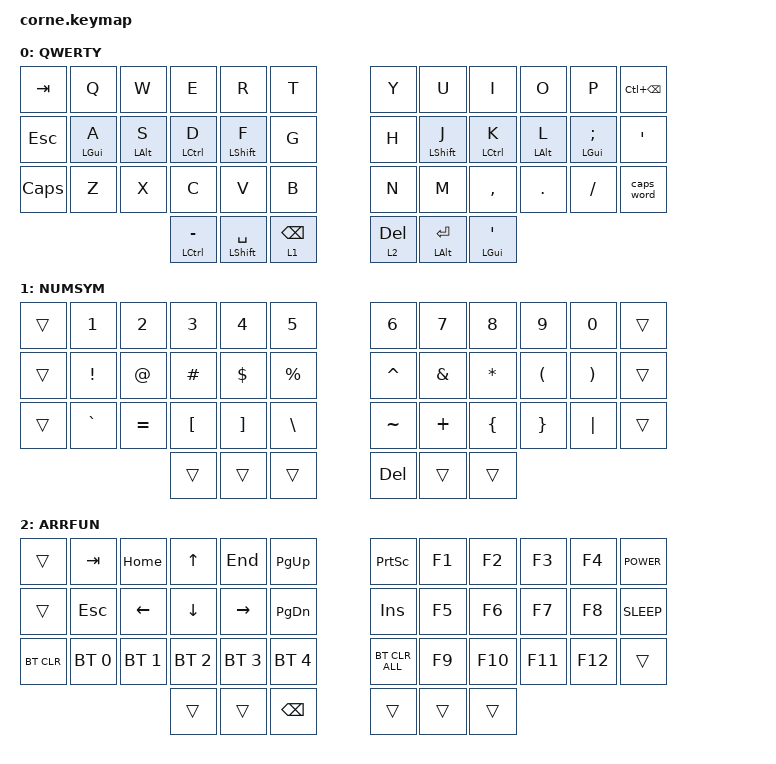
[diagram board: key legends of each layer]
/*
 * Copyright (c) 2020 The ZMK Contributors
 *
 * SPDX-License-Identifier: MIT
 */

#include <behaviors.dtsi>
#include <dt-bindings/zmk/bt.h>
#include <dt-bindings/zmk/keys.h>

/ {
    behaviors {
        hml: hml {
            compatible = "zmk,behavior-hold-tap";
            label = "HML";
            bindings = <&kp>, <&kp>;

            #binding-cells = <2>;
            tapping-term-ms = <280>;
            quick-tap-ms = <175>;
            flavor = "balanced";
            hold-trigger-on-release;
            hold-trigger-key-positions = <6 7 8 9 10 11 18 19 20 21 22 23 30 31 32 33 34 35 39 40 41>;
        };

        hmr: hmr {
            compatible = "zmk,behavior-hold-tap";
            label = "HMR";
            bindings = <&kp>, <&kp>;

            #binding-cells = <2>;
            tapping-term-ms = <280>;
            quick-tap-ms = <175>;
            flavor = "balanced";
            hold-trigger-key-positions = <0 1 2 3 4 5 12 13 14 15 16 17 24 25 26 27 28 29 36 37 38>;
            hold-trigger-on-release;
        };
    };

    keymap {
        compatible = "zmk,keymap";

        QWERTY {
            // -----------------------------------------------------------------------------------------
            // |  TAB |  Q  |  W  |  E  |  R  |  T  |   |  Y  |  U   |  I  |  O  |  P  | BSPC |
            // | CTRL |  A  |  S  |  D  |  F  |  G  |   |  H  |  J   |  K  |  L  |  ;  |  '   |
            // | SHFT |  Z  |  X  |  C  |  V  |  B  |   |  N  |  M   |  ,  |  .  |  /  | ESC  |
            //                    | GUI | LWR | SPC |   | ENT | RSE  | ALT |

            bindings = <
&kp TAB       &kp Q            &kp W            &kp E                   &kp R                 &kp T              &kp Y         &kp U               &kp I                &kp O            &kp P                    &kp LC(BSPC)
&kp ESCAPE    &hml LEFT_GUI A  &hml LEFT_ALT S  &hml LEFT_CONTROL D     &hml LEFT_SHIFT F     &kp G              &kp H         &hmr LEFT_SHIFT J   &hmr LEFT_CONTROL K  &hmr LEFT_ALT L  &hmr LEFT_GUI SEMICOLON  &kp SQT
&kp CAPSLOCK  &kp Z            &kp X            &kp C                   &kp V                 &kp B              &kp N         &kp M               &kp COMMA            &kp DOT          &kp FSLH                 &caps_word
                                                &mt LEFT_CONTROL MINUS  &mt LEFT_SHIFT SPACE  &lt 1 BACKSPACE    &lt 2 DELETE  &mt LEFT_ALT ENTER  &mt LEFT_GUI SQT
            >;
        };

        NUMSYM {
            // -----------------------------------------------------------------------------------------
            // |  TAB |  1  |  2  |  3  |  4  |  5  |   |  6  |  7  |  8  |  9  |  0  | BSPC |
            // | BTCLR| BT1 | BT2 | BT3 | BT4 | BT5 |   | LFT | DWN |  UP | RGT |     |      |
            // | SHFT |     |     |     |     |     |   |     |     |     |     |     |      |
            //                    | GUI |     | SPC |   | ENT |     | ALT |

            bindings = <
&trans  &kp N1           &kp N2     &kp N3            &kp N4             &kp N5           &kp N6      &kp N7         &kp N8          &kp N9                &kp N0                 &trans
&trans  &kp EXCLAMATION  &kp AT     &kp HASH          &kp DOLLAR         &kp PERCENT      &kp CARET   &kp AMPERSAND  &kp ASTERISK    &kp LEFT_PARENTHESIS  &kp RIGHT_PARENTHESIS  &trans
&trans  &kp GRAVE        &kp EQUAL  &kp LEFT_BRACKET  &kp RIGHT_BRACKET  &kp BACKSLASH    &kp TILDE   &kp PLUS       &kp LEFT_BRACE  &kp RIGHT_BRACE       &kp PIPE               &trans
                                    &trans            &trans             &trans           &kp DELETE  &trans         &trans
            >;
        };

        ARRFUN {
            // -----------------------------------------------------------------------------------------
            // |  TAB |  !  |  @  |  #  |  $  |  %  |   |  ^  |  &  |  *  |  (  |  )  | BSPC |
            // | CTRL |     |     |     |     |     |   |  -  |  =  |  [  |  ]  |  \  |  `   |
            // | SHFT |     |     |     |     |     |   |  _  |  +  |  {  |  }  | "|" |  ~   |
            //                    | GUI |     | SPC |   | ENT |     | ALT |

            bindings = <
&trans      &kp TAB       &kp HOME        &kp UP_ARROW    &kp END          &kp PAGE_UP      &kp PRINTSCREEN  &kp F1  &kp F2   &kp F3   &kp F4   &kp C_POWER
&trans      &kp ESCAPE    &kp LEFT_ARROW  &kp DOWN_ARROW  &kp RIGHT_ARROW  &kp PAGE_DOWN    &kp INSERT       &kp F5  &kp F6   &kp F7   &kp F8   &kp C_SLEEP
&bt BT_CLR  &bt BT_SEL 0  &bt BT_SEL 1    &bt BT_SEL 2    &bt BT_SEL 3     &bt BT_SEL 4     &bt BT_CLR_ALL   &kp F9  &kp F10  &kp F11  &kp F12  &trans
                                          &trans          &trans           &kp BACKSPACE    &trans           &trans  &trans
            >;
        };
    };
};
